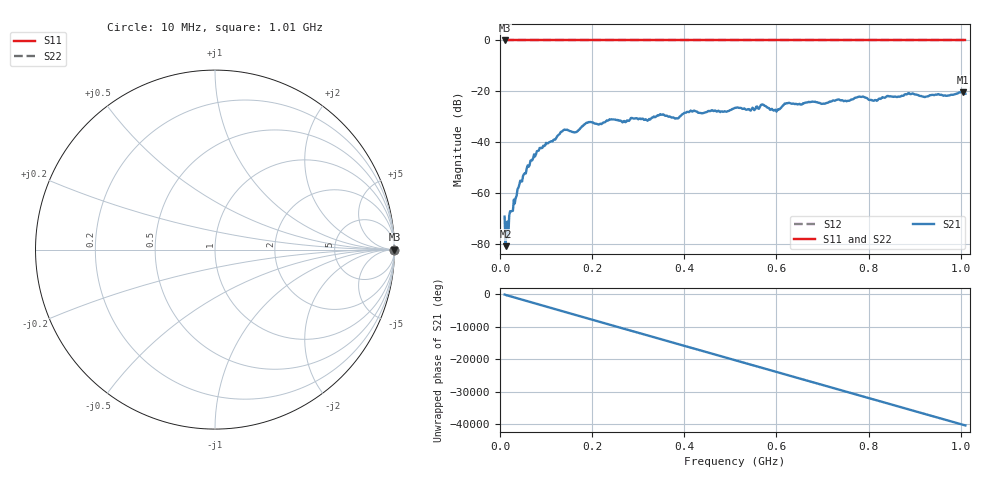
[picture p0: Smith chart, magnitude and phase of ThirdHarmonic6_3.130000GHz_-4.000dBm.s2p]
! 8/17/2025 9:18:46 AM
! C:\ANRITSUVNA\TEMP\TEMP.S2P
! CHANNEL.1
! TR.MEASUREMENT
! RAW.DATA
! RF.CORRECTION.OFF
! AVERAGING.OFF
! IF.BANDWIDTH: 5KHZ
! SWEEPTYPE:  FREQ.SWEEP(Linear)
! Reference Plane Port Info
! PORT:  PORT1  PORT2
! DISTANCE:  0  m  0  m
! TIME:  0  s  0  s
! PHASE.OFFSET:  0  deg.  0  deg.
! LOSS:  0  dB  0  dB
! REF.LOSS:  0  dB  0  dB
! REF.FREQ:  0  Hz  0  Hz
! Power Info
! POWER:  -20  dBm  -20  dBm
! EFF.POWER:  -20  dBm  -20  dBm
! SOURCE.ATTEN:  0  dB  0  dB
! TEST.ATTEN:  0  dB  0  dB
# GHZ S RI R 50.0
! FREQ.GHZ  S11RE  S11IM  S21RE  S21IM  S12RE  S12IM  S22RE  S22IM
!; PortSelection: Port_12
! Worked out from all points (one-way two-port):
!   501 points, 10 MHz to 1.01 GHz, reference 50 ohm
!   highest |S21| = -20.34 dB at 1.004 GHz (marker M1); lowest = -81.0 dB at 12 MHz (marker M2)
!   lowest |S11| = 0.0 dB at 10 MHz (marker M3)
!   |S11| at or under -10 dB: nowhere
!   |S22| runs from 0.0 to 0.0 dB; largest |S21 - S12| = 1.1
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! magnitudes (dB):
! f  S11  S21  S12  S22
! 10 MHz  0.0  -69.3  0.0  0.0
! 12 MHz  0.0  -81.0  0.0  0.0
! 16 MHz  0.0  -71.3  0.0  0.0
! 24 MHz  0.0  -67.3  0.0  0.0
! 42 MHz  0.0  -56.8  0.0  0.0
! 84 MHz  0.0  -43.4  0.0  0.0
! 136 MHz  0.0  -35.6  0.0  0.0
! 164 MHz  0.0  -36.1  0.0  0.0
! 178 MHz  0.0  -33.8  0.0  0.0
! 192 MHz  0.0  -32.1  0.0  0.0
! 322 MHz  0.0  -31.3  0.0  0.0
! 344 MHz  0.0  -29.5  0.0  0.0
! 384 MHz  0.0  -30.7  0.0  0.0
! 410 MHz  0.0  -28.2  0.0  0.0
! 510 MHz  0.0  -26.5  0.0  0.0
! 570 MHz  0.0  -25.2  0.0  0.0
! 598 MHz  0.0  -27.3  0.0  0.0
! 622 MHz  0.0  -24.7  0.0  0.0
! 678 MHz  0.0  -24.1  0.0  0.0
! 844 MHz  0.0  -22.0  0.0  0.0
! 1.004 GHz  0.0  -20.3  0.0  0.0
! 1.01 GHz  0.0  -21.0  0.0  0.0
